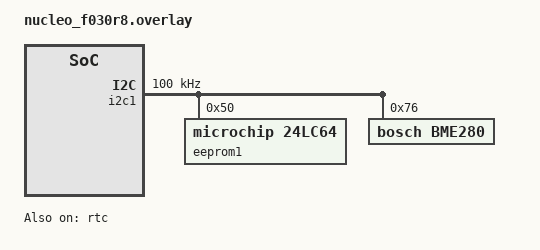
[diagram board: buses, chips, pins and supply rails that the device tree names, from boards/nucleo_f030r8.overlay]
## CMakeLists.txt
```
# SPDX-License-Identifier: Apache-2.0

cmake_minimum_required(VERSION 3.20.0)
find_package(Zephyr REQUIRED HINTS $ENV{ZEPHYR_BASE})
project(si7021)

FILE(GLOB app_sources src/*.c)
target_sources(app PRIVATE ${app_sources})
```

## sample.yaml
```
sample:
  name: Native TTY sample
tests:
  sample.drivers.uart.native_tty:
    build_only: true
    platform_allow:
      - native_posix
      - native_sim
    tags:
      - serial
      - uart
```

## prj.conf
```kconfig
CONFIG_STDOUT_CONSOLE=y
CONFIG_I2C=y
#conf for sensor
CONFIG_SENSOR=y
CONFIG_I2C_EEPROM_TARGET=y
CONFIG_I2C_TARGET=y

CONFIG_SERIAL=y

CONFIG_GPIO=y
CONFIG_COUNTER=y
```

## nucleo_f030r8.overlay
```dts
/*
 * Copyright (c) 2020, Nordic Semiconductor ASA
 *
 * SPDX-License-Identifier: Apache-2.0
 */

/* Example configuration of a BME280 device on an Arduino SPI bus. */

&i2c1 {
	status = "okay";
	   bme280@76 {
        compatible = "bosch,bme280";
        reg = <0x76>;  // I2C address of BME280
    };
};

    &rtc {
        status = "okay";
    clocks = < &rcc 0x1c 0x10000000 >, < &rcc STM32_SRC_LSE RTC_SEL(1) >;
    };

&clk_lse {
    status="okay";
    driving-capability = < 0x3 >;
    /delete-property/ lse-bypass;
};
```

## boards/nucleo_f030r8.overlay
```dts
&i2c1 {
	clock-frequency = <I2C_BITRATE_STANDARD>;
	timings = < 8000000 I2C_BITRATE_STANDARD 0x10420F13>,
	          <16000000 I2C_BITRATE_STANDARD 0x30420F13>,
	          <48000000 I2C_BITRATE_STANDARD 0xB0420F13>;
	status="okay";

	eeprom1: e24lc64@50 {
		compatible = "microchip,24lc64";
		reg = <0x50>;
		size = <8192>; // Size in bytes
		status = "okay";
	};
	  bme280@76 {
        compatible = "bosch,bme280";
        reg = <0x76>;  // I2C address of BME280
    };



};

    &rtc {
        status = "okay";
    clocks = < &rcc 0x1c 0x10000000 >, < &rcc STM32_SRC_LSE RTC_SEL(1) >;
    };

&clk_lse {
    status="okay";
    driving-capability = < 0x3 >;
    /delete-property/ lse-bypass;
};
```

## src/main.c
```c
#include <zephyr/kernel.h>
#include <zephyr/device.h>
#include <zephyr/devicetree.h>
#include <zephyr/drivers/sensor.h>
#include "BME280.h"
#include "offline_storage.h"
#include "rtc.h"
#include "Database_connect.h"

#define T_SIZE 1024

void K_rtc(void)
{
	while (1) {

		run_rtc(uur, min, sec);
		k_sleep(K_SECONDS(1));
	}
}

void K_Sensor(void)
{
	while (1) {

		BME280();
		k_sleep(K_SECONDS(60*3)); //set to 3 mins

	}
}

void K_check(void)
{
	while (1) {
			printk("test",check_eeprom_write);
		if (check_eeprom_write == true) {
            printk("quick check : %d\n",check_eeprom_write);
			WIFI_INIT();
			k_sleep(K_SECONDS(10));
			TCP_INIT();
		}
	}
}

//K_THREAD_DEFINE(id_check, T_SIZE, K_check, NULL, NULL, NULL, 3, 0, 0);

K_THREAD_DEFINE(id_Sensor, T_SIZE, K_Sensor, NULL, NULL, NULL, 0, 0, 0);

K_THREAD_DEFINE(id_rtc, T_SIZE, K_rtc, NULL, NULL, NULL, -1, K_ESSENTIAL, 0);

int main()
{

	while (1) {

		Database_init();
	}
}

// kthread resume when in eeprom write
```

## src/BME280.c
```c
/*
 * Copyright (c) 2012-2014 Wind River Systems, Inc.
 * Copyright (c) 2021 Nordic Semiconductor ASA
 *
 * SPDX-License-Identifier: Apache-2.0
 */

#include <zephyr/kernel.h>
#include <zephyr/device.h>
#include <zephyr/devicetree.h>
#include <zephyr/drivers/sensor.h>
#include "BME280.h"
#include "rtc.h"
#include "string.h"
/*
 * Get a device structure from a devicetree node with compatible
 * "bosch,bme280". (If there are multiple, just pick one.)
 */
int temp_val = 0;
int press_val = 0;
int hum_val = 0;
int store_temp = 0;
char *time_sensor = 0;
static const struct device *get_bme280_device(void)
{
	const struct device *const dev = DEVICE_DT_GET_ANY(bosch_bme280);

	if (dev == NULL) {
		/* No such node, or the node does not have status "okay". */
		printk("\nError: no device found.\n");
		return NULL;
	}

	if (!device_is_ready(dev)) {
		printk("\n\n\n Restart device or check the \"%s\"  pin connections\n\n\n",
		       dev->name);
		return NULL;
	}
else{
	//printk("Found device \"%s\", getting sensor data\n", dev->name);
}
	return dev;
}

int DoublleIntToInt(int a, int b)
{
	int result, temp1 = 0;
	temp1 = a * 100;
	result = temp1 + b;
	return result;
}
void cijfersachter(int num, int *pa)
{
	while (num >= 100) {
		num = num / 10;
	}

	*pa = DoublleIntToInt(*pa, num);
}

void BME280()
{
	const struct device *dev = get_bme280_device();
	if (dev == NULL) {
		return;
	}
	struct sensor_value temp, press, humidity;

	sensor_sample_fetch(dev);
	sensor_channel_get(dev, SENSOR_CHAN_AMBIENT_TEMP, &temp);
	sensor_channel_get(dev, SENSOR_CHAN_PRESS, &press);
	sensor_channel_get(dev, SENSOR_CHAN_HUMIDITY, &humidity);

	press_val = press.val1;
	hum_val = humidity.val1;
	temp_val = temp.val1;

	store_temp = temp.val2;
	cijfersachter(store_temp, &temp_val);

	store_temp = humidity.val2;
	cijfersachter(store_temp, &hum_val);

	store_temp = press.val2;
	cijfersachter(store_temp, &press_val);
	time_sensor = getTimeString();

		
}
```

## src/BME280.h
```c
#ifndef BME280_H_
#define BME280_H_

#include <zephyr/kernel.h>
#include <zephyr/device.h>
#include <zephyr/devicetree.h>
#include <zephyr/drivers/sensor.h>

#ifdef __cplusplus
extern "C" {
#endif

void BME280();
extern int temp_val;
extern int press_val;
extern int hum_val;
extern char *time_sensor;


#ifdef __cplusplus
}
#endif

#endif /* BME280_H_ */
```

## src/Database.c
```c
/*
 * Copyright (c) 2022 Libre Solar Technologies GmbH
 *
 * SPDX-License-Identifier: Apache-2.0
 */
#include <zephyr/kernel.h>
#include <zephyr/device.h>
#include <zephyr/drivers/uart.h>
#include <string.h>
#include <stdio.h>
#include <math.h>
#include <stdlib.h>
#include "BME280.h"

/* change this to any other UART peripheral if desired */
#define UART_DEVICE_NODE DT_NODELABEL(usart1) // 8 && 3
#define SIZE             200

static int received_data_len = 0;
static uint8_t received_data[1024];



static const struct device *const uart_dev = DEVICE_DT_GET(UART_DEVICE_NODE);

// temperature and humidity values will be stored in here
uint8_t temperature = 0;
uint8_t temperature_decimal = 0;
uint8_t pressure = 0;
uint8_t pressure_decimal = 0;
uint8_t humidity = 0;
uint8_t humidity_decimal = 0;

// Convert temperature and humidity to strings
char temperatureStr[20];
char humidityStr[20];
char content_lengthSTR[20];
int content_length = 0;

char string[SIZE];
char string2[SIZE];

// converts int to string function
char *itoa(int num, char *buffer, int base)
{
	int current = 0;
	if (num == 0) {
		buffer[current++] = '0';
		buffer[current] = '\0';
		return buffer;
	}
	int num_digits = 0;
	if (num < 0) {
		if (base == 10) {
			num_digits++;
			buffer[current] = '-';
			current++;
			num *= -1;
		} else {
			return NULL;
		}
	}
	num_digits += (int)floor(log(num) / log(base)) + 1;
	while (current < num_digits) {
		int base_val = (int)pow(base, num_digits - 1 - current);
		int num_val = num / base_val;
		char value = num_val + '0';
		buffer[current] = value;
		current++;
		num -= base_val * num_val;
	}
	buffer[current] = '\0';
	return buffer;
}

// sends the command via uart
void send_data(const char *at_command,uint8_t *tx_buf)
{
	
	// Sends the data from the tx_buffer using uart_poll_out
	snprintf(tx_buf, SIZE, "%s\r\n", at_command);
	for (size_t i = 0; i < strlen(tx_buf); i++) {
		uart_poll_out(uart_dev, tx_buf[i]);
	}
}
// stores the command in a array
void AT_SEND(const char *data)
{
	 uint8_t tx_buf[SIZE];
	size_t len = strlen(data);
	if (len >= SIZE) {
		// Handle error: Input data is too large for the buffer
		return;
	}

	send_data(data,tx_buf);
	for (size_t i = 0; i < SIZE; i++) {
		tx_buf[i] = 0;
	}
}

typedef enum {
	ESTABLLISH_CONNECTION,
	ESTABLISH_TCP_IP,
	SEND_DATABASE,
	NO_CONNECTION
} Database;
int status = ESTABLLISH_CONNECTION;

static void uart_cb(const struct device *x, void *user_data)
{
	static uint8_t rx_buf[SIZE];

	uart_irq_update(x);

	if (uart_irq_rx_ready(x)) {
		int data_length = uart_fifo_read(x, rx_buf, sizeof(rx_buf));

		// Copy the received data to the buffer
		if (received_data_len + data_length < sizeof(received_data)) {
			memcpy(&received_data[received_data_len], rx_buf, data_length);
			received_data_len += data_length;
		}
	}
}

bool check_connection()
{
	bool connection = false;
	if (received_data_len > 0) {
		printk("Received data: %s\n", received_data);
	}
	if (strstr(received_data, "CONNECTED") != NULL || strstr(received_data, "CONNECTED") != NULL ) {
		connection = true;
	}

	return connection;
}

void return_time()
{

const char *prefix = "current time: ";
    char *time_ptr = strstr(received_data, prefix);

    if (time_ptr) {
        time_ptr += strlen(prefix); // Move the pointer past the prefix
        char time[9]; // Assuming the time format is hh:mm:ss
        strncpy(time, time_ptr, 8);
        time[8] = '\0'; // Null-terminate the extracted time
        printf("Extracted time: %s\n", time);
    } else {
        printf("Time not found in the text.\n");
    }
	
}
void WIFI_INIT()
{
	k_sleep(K_MSEC(600));
	printk("establishing wifi connection...\n");
	AT_SEND("AT+CWJAP=\"i\",\"bqmi8806\"\r\n"); // insert wifi name && ssid
	k_sleep(K_MSEC(3000));
	if (check_connection() == true) {
		printk("WiFi is connected.\n");
		status = ESTABLISH_TCP_IP;
	}

	else {
		printk("Wifi connection failed\n");
		status = NO_CONNECTION;
	}
	k_sleep(K_MSEC(2000));
	// add if wifi is connected status == ESTABLISH_TCP_IP
}
void TCP_INIT()
{
	printk("Conecting to database...\n");
	k_sleep(K_MSEC(300));
	AT_SEND("AT+CIPSTART=\"TCP\",\"192.168.61.157\",80\r\n"); // insert wifi name && ssid;//
	k_sleep(K_MSEC(3000));
	if (check_connection() == true) {
		printk("connected to database.\n");
		status = SEND_DATABASE;
	} else {
		printk("TCP connection failed.\n");

		status = NO_CONNECTION;
	}
	
}

void SEND_INIT()
{

	// converts integer to string
	itoa(temperature, temperatureStr, 10);
	itoa(humidity, humidityStr, 10);
printk("Sending Data: %d.%d, %d.%d, and %d.%d\n", temperature, temperature_decimal, humidity, humidity_decimal, pressure, pressure_decimal);

	// calculate CIPSEND size
	content_length = strlen(humidityStr) + strlen(temperatureStr) + 72;
	itoa(content_length, content_lengthSTR, 10);

	sprintf(string, "AT+CIPSEND=%s\r\n", content_lengthSTR);
	sprintf(string2,
		"GET /file.php?temperature=%s&humidity=%s HTTP/1.1\r\nHost: localhost\r\n\r\n",
		temperatureStr, humidityStr);
	k_sleep(K_MSEC(30));
	AT_SEND(string);
	k_sleep(K_MSEC(300));
	AT_SEND(string2);
	k_sleep(K_MSEC(4000));
check_connection();
return_time();
	status = ESTABLISH_TCP_IP;
}

void offline_init()
{
	printk("offline_init");
	k_sleep(K_MSEC(3000));
	// write sensor values to eeprom


	// after 1 minute check if internet is connected do this when measuring a new value this is when a value becomes high
	// imaginary value goes high in if statement that yet has to be implemented
	status = ESTABLLISH_CONNECTION;
}

void Database_init()
{

	switch (status) {
	case ESTABLLISH_CONNECTION:
		WIFI_INIT();
		break;
	case ESTABLISH_TCP_IP:
		TCP_INIT();
		break;

	case SEND_DATABASE:
		SEND_INIT();
		break;
	case NO_CONNECTION:
		offline_init();
		break;
	default:
		printk("Unknown WiFi status\n");
	}
}

void main(void)
{
	int uart1_data = 3;
	uart_irq_callback_user_data_set(uart_dev, uart_cb, &uart1_data);
	uart_irq_rx_enable(uart_dev);
	while (1) {

		Database_init();
	}
}
```

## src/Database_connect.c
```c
/*
 * Copyright (c) 2022 Libre Solar Technologies GmbH
 *
 * SPDX-License-Identifier: Apache-2.0
 */
#include <zephyr/kernel.h>
#include <zephyr/device.h>
#include <zephyr/drivers/uart.h>
#include <string.h>
#include <stdio.h>
#include <math.h>
#include <stdlib.h>
#include "BME280.h"
#include "Database_connect.h"
#include "rtc.h"
#include "offline_storage.h"
/* change this to any other UART peripheral if desired */
#define UART_DEVICE_NODE DT_NODELABEL(usart1) // 8 && 3
#define SIZE             200

static int received_data_len = 0;
static uint8_t received_data[1024];


static const struct device *const uart_dev = DEVICE_DT_GET(UART_DEVICE_NODE);

// temperature and humidity values will be stored in here
int temperature = 0;
int pressure = 0;
int humidity = 0;

int uur = 0;
int min = 0;
int sec = 0;
// Convert temperature and humidity to strings
char temperatureStr[20];
char humidityStr[20];
char content_lengthSTR[20];
char content_lengthSTR[20];
char pressureStr[20];
int content_length = 0;

char string[SIZE];
char string2[SIZE];

bool database_connection=false; // need to check with threads or else infinitly in while loop of eepromwrite

// converts int to string function
char *itoa(int num, char *buffer, int base)
{
	int current = 0;
	if (num == 0) {
		buffer[current++] = '0';
		buffer[current] = '\0';
		return buffer;
	}
	int num_digits = 0;
	if (num < 0) {
		if (base == 10) {
			num_digits++;
			buffer[current] = '-';
			current++;
			num *= -1;
		} else {
			return NULL;
		}
	}
	num_digits += (int)floor(log(num) / log(base)) + 1;
	while (current < num_digits) {
		int base_val = (int)pow(base, num_digits - 1 - current);
		int num_val = num / base_val;
		char value = num_val + '0';
		buffer[current] = value;
		current++;
		num -= base_val * num_val;
	}
	buffer[current] = '\0';
	return buffer;
}

char* format_time(int hour, int minute, int second) {
    if (hour >= 0 && hour <= 23 && minute >= 0 && minute <= 59 && second >= 0 && second <= 59) {
        char formatted_time[9]; // Format: hh:mm:ss
        snprintf(formatted_time, sizeof(formatted_time), "%02d:%02d:%02d", hour, minute, second);
        return strdup(formatted_time); // Return a dynamically allocated copy of the formatted time string
    } else {
        return NULL; // Invalid input values
    }
}

// sends the command via uart
void send_data(const char *at_command,uint8_t *tx_buf)
{
	
	// Sends the data from the tx_buffer using uart_poll_out
	snprintf(tx_buf, SIZE, "%s\r\n", at_command);
	for (size_t i = 0; i < strlen(tx_buf); i++) {
		uart_poll_out(uart_dev, tx_buf[i]);
	}
}
// stores the command in a array
void AT_SEND(const char *data)
{
	 uint8_t tx_buf[SIZE];
	size_t len = strlen(data);
	if (len >= SIZE) {
		// Handle error: Input data is too large for the buffer
		return;
	}

	send_data(data,tx_buf);
	for (size_t i = 0; i < SIZE; i++) {
		tx_buf[i] = 0;
	}
}

typedef enum {
	ESTABLLISH_CONNECTION,
	ESTABLISH_TCP_IP,
	SEND_DATABASE,
	NO_CONNECTION
} Database;
int status = ESTABLLISH_CONNECTION;
	static uint8_t rx_buf[SIZE];
static void uart_cb(const struct device *x, void *user_data)
{


	uart_irq_update(x);

	if (uart_irq_rx_ready(x)) {
		int data_length = uart_fifo_read(x, rx_buf, sizeof(rx_buf));

		// Copy the received data to the buffer
		if (received_data_len + data_length < sizeof(received_data)) {
			memcpy(&received_data[received_data_len], rx_buf, data_length);
			received_data_len += data_length;
		}
	}
}

bool check_connection()
{
		k_sleep(K_MSEC(3000));
	bool connection = false;
	if (received_data_len > 0) {
		//printk("Received data: %s\n", received_data);
	}
	if (strstr(received_data, "CONNECTED") != NULL || strstr(received_data, "OK") != NULL ) {
		connection = true;
	}
	printk("%s",received_data);
	
	return connection;
}


int seperate(char *str, int pos)
{
    int result = 0;
    str += pos;
    while ((*str >= '0') && (*str <= '9'))
  {
      result = (result * 10) + ((*str) - '0');
      str++;
  }
    return (result);
}
void return_time()
{

const char *prefix = "current time: ";
char *time_ptr = strstr(received_data, "current time: ");

if (time_ptr != NULL) {
    time_ptr += strlen(prefix); // Move the pointer past the prefix
    char time[9]; // Assuming the time format is hh:mm:ss
    strncpy(time, time_ptr, 8);
    time[8] = '\0'; // Null-terminate the extracted time
   printk("Time without: %s\n", time);

    uur = seperate(time, 0);
    min = seperate(time, 3);
    sec = seperate(time, 6);
    
} else {
    printk("Prefix not found in received_data.\n");
}
}
void WIFI_INIT()
{

	k_sleep(K_MSEC(600));
	printk("establishing wifi connection...\n");
	AT_SEND("AT+CWJAP=\"i\",\"bqmi8806\"\r\n"); // insert wifi name && ssid
	if (check_connection() == true) {
		printk("WiFi is connected.\n");
		status = ESTABLISH_TCP_IP;
		database_connection=true;
	}

	else {
		printk("Wifi connection failed\n");
		status = NO_CONNECTION;

	}
	k_sleep(K_MSEC(2000));

}
 char *Time;
 char *check="00:00:00";
void TCP_INIT()
{
	printk("Conecting to database...\n");
	AT_SEND("AT+CIPSTART=\"TCP\",\"192.168.248.97\",80\r\n"); // insert wifi name && ssid;//
	if (check_connection() == true) {
		printk("connected to database.\n");
		status = SEND_DATABASE;
		database_connection=true;
	} else {
		printk("TCP connection failed.\n");
        database_connection=false;
		status = NO_CONNECTION;
	}
	
}

void SEND_INIT()
{
if(eeprom_empty() == true){
 temperature = temp_val;
 pressure = press_val;
 humidity = hum_val;
 Time=time_sensor;
	printk("sending data directly\n\n\n");
	 if((strcmp(Time, check) != 0) ){
 k_sleep(K_SECONDS(30));
 }
 status = ESTABLISH_TCP_IP;
}
else
{
	printk("sending data from eeprom\n\n\n");
	Time=getTimeString();
database_connection=true;
status= NO_CONNECTION;

}

	// converts integer to string
	itoa(temperature, temperatureStr, 10);
	itoa(humidity, humidityStr, 10);
	itoa(pressure, pressureStr, 10);
	
printk("Sending Data: %d, %d, and %d, time :%s\n", temperature, humidity, pressure,Time);

	// calculate CIPSEND size
content_length = strlen(humidityStr) + strlen(temperatureStr) + strlen(pressureStr)+8+86;
	itoa(content_length, content_lengthSTR, 10);

	sprintf(string, "AT+CIPSEND=%s\r\n", content_lengthSTR);
	sprintf(string2,
		"GET /file.php?temperature=%s&humidity=%s&pressure=%s&Time=%s HTTP/1.1\r\nHost: localhost\r\n\r\n",
		temperatureStr, humidityStr,pressureStr,Time);
	k_sleep(K_MSEC(1000));
	AT_SEND(string);
	k_sleep(K_MSEC(2000));
 check_connection();
	AT_SEND(string2);
	k_sleep(K_MSEC(1000));
	check_connection();
	if(eeprom_empty() == true){return_time();}
	printk("%s",string2);
	




	
}

void offline_init()
{
	printk("offline_init\n");
	
	
printk("database status = %d",database_connection);

	// write sensor values to eeprom while no connection to database
write_eeprom();

//sending data if eeprom is not empty
send_eepromval(&temperature, &humidity, &pressure, &sec);
	status = SEND_DATABASE; // after entering the while loop it needs to send the data to the database
}

void Database_init()
{
	int uart1_data = 3;
	uart_irq_callback_user_data_set(uart_dev, uart_cb, &uart1_data);
	uart_irq_rx_enable(uart_dev);
    received_data_len = 0;
    memset(received_data, 0, sizeof(received_data));

    switch (status) {
    case ESTABLLISH_CONNECTION:
        WIFI_INIT();
        break;
    case ESTABLISH_TCP_IP:
        TCP_INIT();
        break;
    case SEND_DATABASE:
        SEND_INIT();
        break;
    case NO_CONNECTION:
        offline_init();
        break;
    default:
        printk("Unknown WiFi status\n");
    }
}
```

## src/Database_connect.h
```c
#ifndef Database_connect_H
#define Database_connect_H
#include <zephyr/kernel.h>
#include <zephyr/device.h>
#include <zephyr/drivers/uart.h>
#include <string.h>
#include <stdio.h>
#include <math.h>
#include <stdlib.h>

void TCP_INIT();
void Database_init();
void WIFI_INIT();
extern int uur;
extern int min;
extern int sec;
extern bool database_connection;


#endif
```

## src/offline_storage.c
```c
#include <zephyr/kernel.h>
#include <zephyr/device.h>
#include <zephyr/drivers/sensor.h>
#include <zephyr/drivers/eeprom.h>
#include <zephyr/sys/printk.h>
#include <zephyr/sys/__assert.h>
#include <zephyr/devicetree.h>
#include <zephyr/drivers/eeprom.h>
#include "BME280.h"
#include "Database_connect.h"
#include "rtc.h"
#include <stdio.h>
#include <math.h>

#define NODE_EP1    DT_NODELABEL(eeprom1)
#define EEPROM_SIZE 8192 // Size of EEPROMa 24LC64 in bytes



bool check_eeprom_write = false;
int ret;
int index = 0;
int temp = 0;
int pres = 0;
int hum = 0;
int seconde = 0;
int readtime = 0;

int testarr[4];
const struct device *const dev = DEVICE_DT_GET(NODE_EP1);

float IntToFloat(int num1, int num2)
{
	int Value;
	int Length = 0;
	int tempNum = num2;
	while (tempNum != 0) {
		tempNum /= 10;
		Length++;
	}
	Value = num1 + (float)num2 / pow(10, Length);

	return Value;
}

void write_eeprom()
{                     // becomes true when database connection has been made
	int addr = 0; // Start address
	while (1) {
        
        	if (database_connection == 1) {
			break;
		}
        check_eeprom_write = true;
    
printk("%d",check_eeprom_write);
		temp = temp_val;
		pres = press_val;
		hum = hum_val;
        seconde=count;
		printk("temp: %d \n press:%d\n hum:%d\nseconds: %d\n\n", temp_val, press_val,
		       hum_val, seconde);

		for (int i = 0; i < 4; i++) {

			testarr[0] = temp;
			testarr[1] = hum;
			testarr[2] = pres;
			testarr[3] = seconde;

			int ret = eeprom_write(dev, addr, &testarr[i], sizeof(int));
            k_sleep(K_MSEC(100)); // if there is no delay it will fail to write

			if (ret) {
				printk("Failed to write eeprom at address %d (%d)\n", addr, ret);
			} 
				printk("Address written: %d, Value: %d\n", addr, testarr[i]);
			

			// Move to the next EEPROM address for the next value
			addr += sizeof(int);
		}
	
        k_sleep(K_SECONDS(60)); // delay of 3 minutes before sending data to eeprom
	}
    check_eeprom_write = false;
  
    
}

// check if eeprom is not empty;
// send data from eeprom to database
// modifies the variable that enters to the value stored in the eeprom
int address = 0;
int send_eepromval(int *temp, int *hum, int *press)
{
	int values[4] = {*temp, *hum, *press, readtime};
	int null[4] = {0, 0, 0, 0};
	for (int i = 0; i < 4; i++) {
		int read_value;
		ret = eeprom_read(dev, address, (int *)&read_value, sizeof(int));
		eeprom_write(dev, address, &null[i], sizeof(int));
		values[i] = read_value;
		k_sleep(K_MSEC(10));
		address += sizeof(int);
	}

	for (int i = 0; i < 4; i++) {
		printk("Value %d: %d\n", i, values[i]);
	}
	*temp = values[0];
	*hum = values[1];
	*press = values[2];
	readtime = values[3];

	return address;
}

// checks if the eeprom is empty, if not empty return false and keep using the eeprom
// the send data to the database when connected to the internet.
bool eeprom_empty()
{
	int read_value;
	int eeprom_val;

	for (uint16_t addr = 0; addr < EEPROM_SIZE; addr += sizeof(int)) {

		ret = eeprom_read(dev, address, (int *)&read_value, sizeof(int));

		eeprom_val = +read_value;
	}
    
	
	if (eeprom_val == 0) {
		return true;
        printk("empty\n\n");
	} else {
        printk("not empty\n\n");
		return false;
	}
}
```

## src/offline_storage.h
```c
#ifndef OFFLINE_STORAGE_H
#define OFFLINE_STORAGE_H

#include <zephyr/kernel.h>
#include <zephyr/device.h>
#include <zephyr/drivers/sensor.h>
#include <zephyr/drivers/eeprom.h>
#include <zephyr/sys/printk.h>
#include <zephyr/sys/__assert.h>
#include <zephyr/devicetree.h>


int send_eepromval(int* temp, int* hum, int* press, int* sec);
void write_eeprom();
bool eeprom_empty();
extern bool check_eeprom_write;
extern int readtime;
#endif
```

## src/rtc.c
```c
#include <zephyr/kernel.h>
#include <zephyr/device.h>
#include <zephyr/drivers/counter.h>
#include <zephyr/drivers/uart.h>
#include <time.h>
#include <string.h>
#include <stdlib.h>
#include "rtc.h"
#include "offline_storage.h"
#define RTC_NODE DT_NODELABEL(rtc) 
// also add that when a new time is added the ticks need to be reset to 0

// Adjust to your specific configuration
// Set the initial time to 12:00:00 (12 o'clock)
//use ntptime in current time to get the exact time precise
int store=0;
    static int last_uur = 0;
    static int last_min = 0;
    static int last_sec = 0;
     int count = 0;

     struct tm *tm_info;
     time_t current_time;
void run_rtc(int uur, int min, int sec)
{
    //printk("uur: %d\n",uur);
    //printk("sec nieuw: %d\n",sec);
    last_uur=last_uur;
    last_min=last_min;
    last_sec=last_sec;
    time_t time_in_seconds = (uur * 3600) + (min * 60) + sec;

    const struct device *rtc_dev = DEVICE_DT_GET(RTC_NODE);

    if (!rtc_dev) {
        printk("RTC device not found\n");
        return;
    }

  //  printk("RTC device found\n");

    uint32_t rtc_ticks;
    int ret = counter_get_value(rtc_dev, &rtc_ticks);
  

    // Check if uur, min, and sec have changed or are all zeros
    if ((uur == 0 && min == 0 && sec == 0) ||last_sec-sec != 0 ) {
        // Reset the count and store the original rtc_ticks value'
       // printk("reset");
        store=rtc_ticks-1;
        count = 0;
        
    }
    else
    {

        count=store;
        count=rtc_ticks-count;
    }

    last_uur = uur;
    last_min = min;
    last_sec = sec;

    
  current_time = (time_in_seconds) + count;
    if (ret == 0) {
        // Convert ticks to seconds
        tm_info = localtime(&current_time);

        // Print the time in HH:MM:SS format


    } else {
        printk("Failed to get RTC counter value: %d\n", ret);
        return;
    }


}
void rtcTimeconv(int rtcValue, int *prtcuur,int *prtcmin,int *prtcsec)
{
    int temp = 0;
    *prtcuur = rtcValue / 3600;
    temp = *prtcuur * 3600;
    //printf("Uur in sec:%d\n", temp);
    rtcValue -= temp;
    *prtcmin = rtcValue / 60;
    temp = *prtcmin * 60;
    //printf("Min in sec:%d\n", temp);
    rtcValue -= temp;
    *prtcsec = rtcValue;
}
char time_string[10]; 
char* getTimeString()
{
  int rtcuur=0;
  int rtcminuut=0;
  int rtcseconde=0;

  int uur2;
  int minuut2;
  int seconde2;
  
 if(eeprom_empty()!= true)
{
    uur2=tm_info->tm_hour;
  minuut2=tm_info->tm_min;
   seconde2=tm_info->tm_sec;
  

    printk("uur:%d minuut:%d seconde:%d\n",uur2,minuut2,seconde2);
    rtcTimeconv(readtime, &rtcuur,&rtcminuut,&rtcseconde);
    
    uur2+=rtcuur;
    minuut2+=rtcminuut;
    seconde2+=rtcseconde;

     sprintf(time_string, "%02d:%02d:%02d", uur2, minuut2, seconde2);
}
    else
    {
    sprintf(time_string, "%02d:%02d:%02d", tm_info->tm_hour, tm_info->tm_min, tm_info->tm_sec);
    }
   
   
    return time_string;




















}
```

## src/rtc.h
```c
#ifndef RTC_H
#define RTC_H

#include <zephyr/kernel.h>
#include <zephyr/device.h>
#include <zephyr/drivers/counter.h>
#include <zephyr/drivers/uart.h>
#include <time.h>
#include <string.h>


void run_rtc(int uur, int min, int sec);
char* getTimeString(); 
extern int count;
#endif /* BME280_H_ */
```
